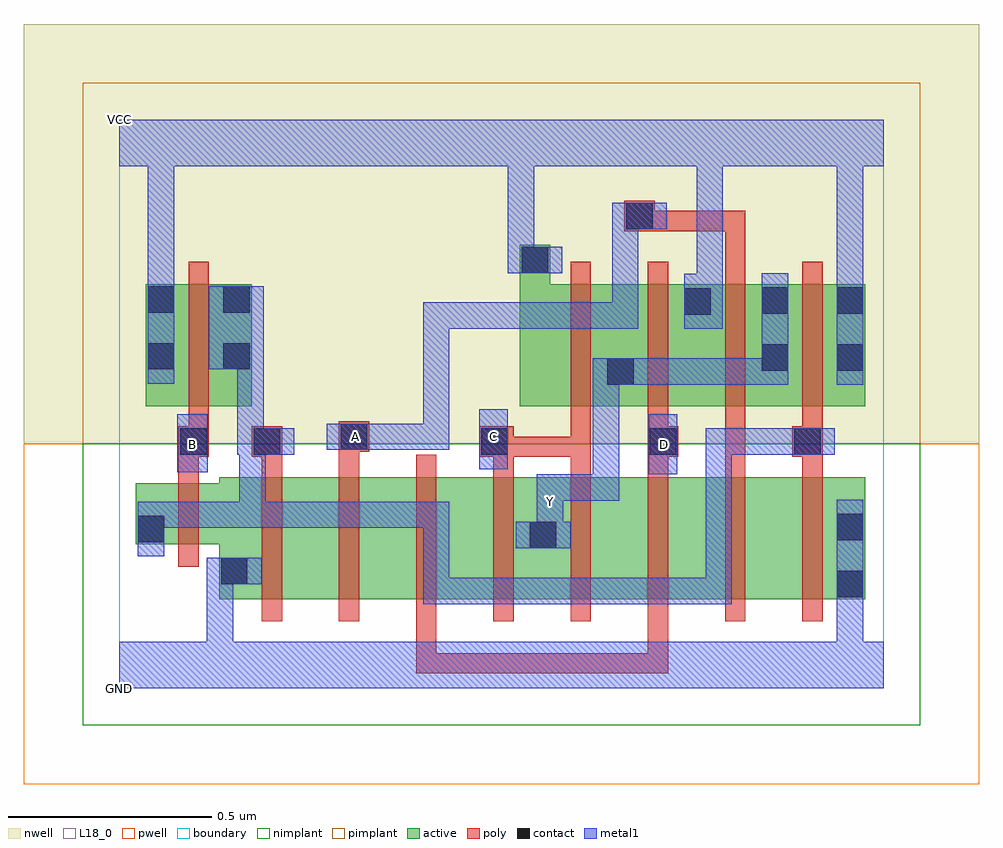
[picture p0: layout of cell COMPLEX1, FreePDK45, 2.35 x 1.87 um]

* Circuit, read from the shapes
.subckt COMPLEX1 A B C D GND VCC Y
M1 GND B n1 VSUBS nfet w=0.15u l=0.05u
M2 n2 n1 GND VSUBS nfet w=0.3u l=0.05u
M3 n3 A n2 VSUBS nfet w=0.3u l=0.05u
M4 n4 D n3 VSUBS nfet w=0.3u l=0.05u
M5 Y C n4 VSUBS nfet w=0.3u l=0.05u
M6 n5 C Y VSUBS nfet w=0.3u l=0.05u
M7 n6 D n5 VSUBS nfet w=0.3u l=0.05u
M8 n7 A n6 VSUBS nfet w=0.3u l=0.05u
M9 GND n1 n7 VSUBS nfet w=0.3u l=0.05u
M10 n1 B VCC n8 pfet w=0.3u l=0.05u
M11 Y C VCC n8 pfet w=0.3u l=0.05u
M12 VCC D Y n8 pfet w=0.3u l=0.05u
M13 Y A VCC n8 pfet w=0.3u l=0.05u
M14 VCC n1 Y n8 pfet w=0.3u l=0.05u
.ends

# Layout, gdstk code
import gdstk
lib = gdstk.Library(unit=1e-6, precision=1e-09)
def R(c, l, rs):  # rectangles x0, y0, x1, y1
    for r in rs: c.add(gdstk.rectangle(r[:2], r[2:], *l))
def A(c, l, x, y, w, h, nx, ny, dx, dy):  # array of equal rectangles
    R(c, l, [(x+i*dx, y+j*dy, x+i*dx+w, y+j*dy+h) for i in range(nx) for j in range(ny)])
active = (1, 0)
pwell = (2, 0)
nwell = (3, 0)
nimplant = (4, 0)
pimplant = (5, 0)
poly = (9, 0)
contact = (10, 0)
metal1 = (11, 0)
L18_0 = (18, 0)
boundary = (235, 0)

complex1 = lib.new_cell('COMPLEX1')
R(complex1, active, [(0.245,0.22,0.47,0.52), (0.47,0.22,0.66,0.52), (0.66,0.22,0.85,0.52), (0.85,0.22,1.08,0.52), (1.005,0.22,1.23,0.52), (1.23,0.22,1.42,0.52), (1.42,0.22,1.61,0.52), (1.61,0.22,1.835,0.52), (1.76,0.22,1.835,0.52), (1.005,0.247,1.08,0.52), (0.245,0.252,0.32,0.472), (0.04,0.355,0.32,0.505), (0.04,0.355,0.115,0.505), (0.065,0.695,0.14,0.995), (0.065,0.695,0.325,0.995), (0.25,0.695,0.325,0.995), (0.985,0.695,1.27,0.995), (0.985,0.695,1.06,1.092), (1.195,0.695,1.27,0.995), (1.195,0.695,1.46,0.995), (1.385,0.695,1.65,0.995), (1.575,0.695,1.65,0.995), (1.575,0.695,1.835,0.995), (1.76,0.695,1.835,0.995), (1.385,0.782,1.46,0.995)])
R(complex1, pwell, [(-0.235,-0.235,2.115,0.602)])
R(complex1, nwell, [(-0.235,0.602,2.115,1.635)])
R(complex1, nimplant, [(-0.09,-0.09,1.97,0.602)])
R(complex1, pimplant, [(-0.09,0.602,1.97,1.49)])
A(complex1, poly, 0.35, 0.165, 0.05, 0.41, 8, 1, 0.19, 0)
A(complex1, poly, 0.92, 0.525, 0.05, 0.095, 3, 1, 0.19, 0)
A(complex1, poly, 1.3, 0.595, 0.05, 0.095, 3, 1, 0.19, 0)
A(complex1, poly, 1.11, 0.64, 0.05, 0.41, 4, 1, 0.19, 0)
R(complex1, poly, [(0.73,0.037,0.78,0.087), (0.73,0.037,0.78,0.087), (0.73,0.037,0.78,0.087), (0.73,0.037,0.78,0.215), (0.73,0.037,0.912,0.087), (0.862,0.037,0.912,0.087), (0.862,0.037,1.065,0.087), (1.015,0.037,1.065,0.087), (1.015,0.037,1.16,0.087), (1.11,0.037,1.16,0.087), (1.11,0.037,1.35,0.087), (1.3,0.037,1.35,0.087), (1.3,0.037,1.35,0.087), (1.3,0.037,1.35,0.087), (1.3,0.037,1.35,0.215), (0.145,0.3,0.195,0.56), (0.145,0.51,0.195,0.62), (0.35,0.525,0.4,0.62), (0.54,0.525,0.59,0.632), (1.49,0.525,1.54,0.645), (1.68,0.525,1.73,0.62), (0.145,0.57,0.22,0.645), (0.325,0.57,0.4,0.645), (0.885,0.57,0.97,0.645), (0.92,0.57,1.16,0.62), (1.11,0.57,1.16,0.62), (1.11,0.57,1.16,0.62), (1.11,0.57,1.16,0.62), (1.11,0.57,1.16,0.69), (1.3,0.57,1.375,0.645), (1.655,0.57,1.73,0.645), (0.54,0.582,0.615,0.657), (0.17,0.595,0.22,0.69), (1.49,0.595,1.54,0.645), (0.17,0.64,0.22,1.05), (1.49,1,1.54,1.175), (1.242,1.125,1.317,1.2), (1.267,1.125,1.54,1.175), (1.49,1.125,1.54,1.175), (1.49,1.125,1.54,1.175), (1.49,1.125,1.54,1.175)])
R(complex1, contact, [(1.765,0.225,1.83,0.29), (0.25,0.257,0.315,0.322), (1.01,0.345,1.075,0.41), (0.045,0.36,0.11,0.425), (1.765,0.365,1.83,0.43), (0.15,0.575,0.215,0.64), (0.33,0.575,0.395,0.64), (0.89,0.575,0.955,0.64), (1.305,0.575,1.37,0.64), (1.66,0.575,1.725,0.64), (0.545,0.587,0.61,0.652), (1.2,0.747,1.265,0.812), (1.58,0.782,1.645,0.847), (1.765,0.782,1.83,0.847), (0.07,0.785,0.135,0.85), (0.255,0.785,0.32,0.85), (1.39,0.92,1.455,0.985), (1.58,0.922,1.645,0.987), (1.765,0.922,1.83,0.987), (0.07,0.925,0.135,0.99), (0.255,0.925,0.32,0.99), (0.99,1.022,1.055,1.087), (1.247,1.13,1.312,1.195)])
R(complex1, metal1, [(0,0,1.88,0.115), (0.215,0.05,0.28,0.115), (0.215,0.05,0.28,0.115), (0.215,0.05,0.28,0.322), (1.765,0.05,1.83,0.115), (1.765,0.05,1.83,0.115), (1.765,0.05,1.83,0.255), (1.765,0.19,1.83,0.465), (0.747,0.207,0.812,0.272), (0.747,0.207,0.955,0.272), (0.747,0.207,0.812,0.46), (0.89,0.207,0.955,0.272), (0.89,0.207,1.092,0.272), (1.027,0.207,1.092,0.272), (1.027,0.207,1.092,0.272), (1.027,0.207,1.092,0.272), (1.027,0.207,1.247,0.272), (1.182,0.207,1.247,0.272), (1.182,0.207,1.247,0.272), (1.182,0.207,1.247,0.272), (1.182,0.207,1.247,0.272), (1.182,0.207,1.247,0.272), (1.182,0.207,1.507,0.272), (1.442,0.207,1.507,0.272), (1.442,0.207,1.507,0.64), (0.215,0.257,0.35,0.322), (0.045,0.325,0.11,0.46), (0.975,0.345,1.11,0.41), (1.027,0.345,1.092,0.457), (1.027,0.392,1.092,0.527), (0.045,0.395,0.11,0.46), (0.045,0.395,0.11,0.46), (0.045,0.395,0.36,0.46), (0.295,0.395,0.36,0.46), (0.295,0.395,0.36,0.46), (0.295,0.395,0.36,0.46), (0.295,0.395,0.497,0.46), (0.295,0.395,0.36,0.64), (0.432,0.395,0.497,0.46), (0.432,0.395,0.497,0.46), (0.432,0.395,0.497,0.46), (0.432,0.395,0.635,0.46), (0.57,0.395,0.635,0.46), (0.57,0.395,0.812,0.46), (0.747,0.395,0.812,0.46), (0.747,0.395,0.812,0.46), (0.747,0.395,0.812,0.46), (1.027,0.462,1.092,0.527), (1.027,0.462,1.092,0.527), (1.027,0.462,1.23,0.527), (1.165,0.462,1.23,0.527), (1.165,0.462,1.23,0.812), (1.302,0.527,1.372,0.675), (0.142,0.532,0.217,0.675), (0.885,0.54,0.955,0.687), (0.29,0.575,0.355,0.85), (0.29,0.575,0.36,0.64), (0.295,0.575,0.36,0.64), (0.295,0.575,0.43,0.64), (1.442,0.575,1.507,0.64), (1.442,0.575,1.552,0.64), (1.487,0.575,1.552,0.64), (1.487,0.575,1.69,0.64), (1.625,0.575,1.69,0.64), (1.625,0.575,1.69,0.64), (1.625,0.575,1.76,0.64), (0.51,0.587,0.647,0.652), (0.582,0.587,0.647,0.652), (0.582,0.587,0.647,0.652), (0.582,0.587,0.812,0.652), (0.747,0.587,0.812,0.652), (0.747,0.587,0.812,0.652), (0.747,0.587,0.812,0.652), (0.747,0.587,0.812,0.95), (1.165,0.747,1.3,0.812), (1.235,0.747,1.3,0.812), (1.235,0.747,1.3,0.812), (1.235,0.747,1.437,0.812), (1.372,0.747,1.437,0.812), (1.372,0.747,1.552,0.812), (1.487,0.747,1.552,0.812), (1.487,0.747,1.645,0.812), (1.58,0.747,1.645,1.022), (1.765,0.747,1.83,1.022), (0.07,0.75,0.135,1.025), (0.22,0.785,0.355,0.99), (0.747,0.885,0.812,0.95), (0.747,0.885,0.955,0.95), (0.89,0.885,0.955,0.95), (0.89,0.885,0.955,0.95), (0.89,0.885,0.955,0.95), (0.89,0.885,0.955,0.95), (0.89,0.885,0.955,0.95), (0.89,0.885,1.092,0.95), (1.027,0.885,1.092,0.95), (1.027,0.885,1.277,0.95), (1.212,0.885,1.277,0.95), (1.212,0.885,1.277,1.195), (1.39,0.885,1.485,1.02), (1.42,0.955,1.485,1.02), (1.42,0.955,1.485,1.02), (1.42,0.955,1.485,1.35), (1.765,0.957,1.83,1.35), (0.07,0.96,0.135,1.35), (0.955,1.022,1.02,1.087), (0.955,1.022,1.02,1.087), (0.955,1.022,1.09,1.087), (0.955,1.022,1.02,1.35), (1.212,1.13,1.277,1.195), (1.212,1.13,1.277,1.195), (1.212,1.13,1.277,1.195), (1.212,1.13,1.277,1.195), (1.212,1.13,1.347,1.195), (0,1.285,1.88,1.4), (0.07,1.285,0.135,1.35), (0.07,1.285,0.135,1.35), (0.07,1.285,0.135,1.35), (0.07,1.285,0.135,1.35), (0.955,1.285,1.02,1.35), (0.955,1.285,1.02,1.35), (1.42,1.285,1.485,1.35), (1.42,1.285,1.485,1.35), (1.765,1.285,1.83,1.35), (1.765,1.285,1.83,1.35), (1.765,1.285,1.83,1.35), (1.765,1.285,1.83,1.35)])
R(complex1, L18_0, [(0,0,1.88,0.115), (0.215,0.05,0.28,0.115), (0.215,0.05,0.28,0.115), (0.215,0.05,0.28,0.322), (1.765,0.05,1.83,0.115), (1.765,0.05,1.83,0.115), (1.765,0.05,1.83,0.255), (1.765,0.19,1.83,0.465), (0.215,0.257,0.35,0.322), (0.975,0.345,1.11,0.41), (1.027,0.345,1.092,0.457), (1.027,0.392,1.092,0.527), (1.027,0.427,1.092,0.492), (1.027,0.462,1.092,0.527), (1.027,0.462,1.092,0.527), (1.027,0.462,1.23,0.527), (1.165,0.462,1.23,0.527), (1.165,0.462,1.23,0.812), (1.302,0.527,1.372,0.675), (0.142,0.532,0.217,0.675), (0.885,0.54,0.955,0.687), (0.147,0.567,0.212,0.632), (1.307,0.567,1.372,0.632), (0.51,0.587,0.647,0.652), (0.547,0.587,0.612,0.652), (0.582,0.587,0.647,0.652), (0.582,0.587,0.647,0.652), (0.582,0.587,0.812,0.652), (0.747,0.587,0.812,0.652), (0.747,0.587,0.812,0.652), (0.747,0.587,0.812,0.652), (0.747,0.587,0.812,0.95), (0.887,0.587,0.952,0.652), (1.165,0.747,1.3,0.812), (1.235,0.747,1.3,0.812), (1.235,0.747,1.3,0.812), (1.235,0.747,1.437,0.812), (1.372,0.747,1.437,0.812), (1.372,0.747,1.552,0.812), (1.487,0.747,1.552,0.812), (1.487,0.747,1.645,0.812), (1.58,0.747,1.645,1.022), (1.765,0.747,1.83,1.022), (0.07,0.75,0.135,1.025), (0.747,0.885,0.812,0.95), (0.747,0.885,0.955,0.95), (0.89,0.885,0.955,0.95), (0.89,0.885,0.955,0.95), (0.89,0.885,0.955,0.95), (0.89,0.885,0.955,0.95), (0.89,0.885,0.955,0.95), (0.89,0.885,1.092,0.95), (1.027,0.885,1.092,0.95), (1.027,0.885,1.277,0.95), (1.212,0.885,1.277,0.95), (1.212,0.885,1.277,1.195), (1.39,0.885,1.485,1.02), (1.42,0.955,1.485,1.02), (1.42,0.955,1.485,1.02), (1.42,0.955,1.485,1.35), (1.765,0.957,1.83,1.35), (0.07,0.96,0.135,1.35), (0.955,1.022,1.02,1.087), (0.955,1.022,1.02,1.087), (0.955,1.022,1.09,1.087), (0.955,1.022,1.02,1.35), (1.212,1.13,1.277,1.195), (1.212,1.13,1.277,1.195), (1.212,1.13,1.277,1.195), (1.212,1.13,1.277,1.195), (1.212,1.13,1.347,1.195), (0,1.285,1.88,1.4), (0.07,1.285,0.135,1.35), (0.07,1.285,0.135,1.35), (0.07,1.285,0.135,1.35), (0.07,1.285,0.135,1.35), (0.955,1.285,1.02,1.35), (0.955,1.285,1.02,1.35), (1.42,1.285,1.485,1.35), (1.42,1.285,1.485,1.35), (1.765,1.285,1.83,1.35), (1.765,1.285,1.83,1.35), (1.765,1.285,1.83,1.35), (1.765,1.285,1.83,1.35)])
R(complex1, boundary, [(0,0,1.88,1.4)])
complex1.add(gdstk.Label('A', (0.58,0.62), layer=11, texttype=0))
complex1.add(gdstk.Label('B', (0.18,0.6), layer=11, texttype=0))
complex1.add(gdstk.Label('C', (0.92,0.62), layer=11, texttype=0))
complex1.add(gdstk.Label('D', (1.34,0.6), layer=11, texttype=0))
complex1.add(gdstk.Label('Y', (1.06,0.46), layer=11, texttype=0))
complex1.add(gdstk.Label('VCC', (0,1.4), layer=11, texttype=0))
complex1.add(gdstk.Label('GND', (0,0), layer=11, texttype=0))

lib.write_gds('COMPLEX1.gds')
